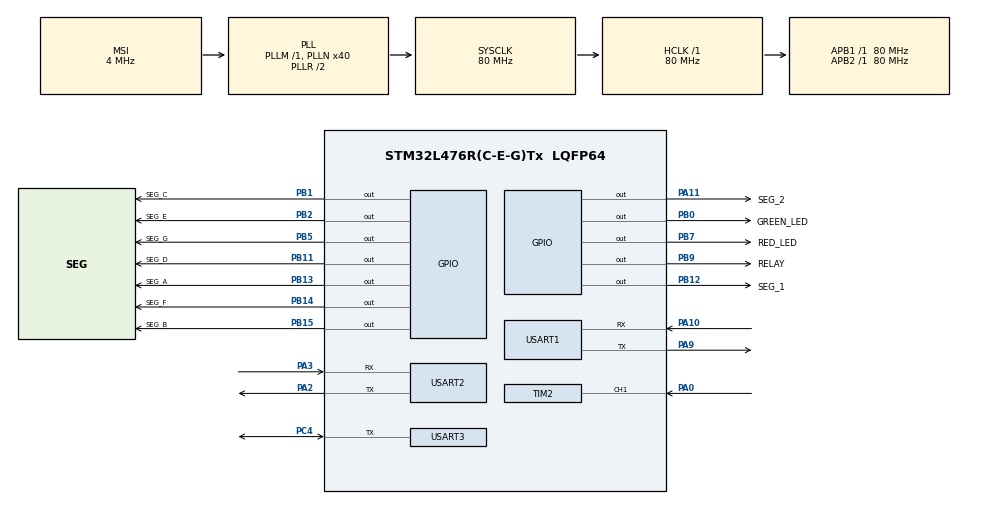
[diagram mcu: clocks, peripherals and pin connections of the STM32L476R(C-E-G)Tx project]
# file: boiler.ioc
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IWDG.Prescaler=IWDG_PRESCALER_32
Mcu.Family=STM32L4
Mcu.Name=STM32L476R(C-E-G)Tx
Mcu.Package=LQFP64
NVIC.PriorityGroup=NVIC_PRIORITYGROUP_4
NVIC.TIM2_IRQn=true\:0\:0\:false\:false\:true\:true\:true\:true
NVIC.TIM7_IRQn=true\:10\:0\:true\:false\:true\:true\:true\:true
PA0.Signal=S_TIM2_CH1
PA10.Mode=Asynchronous
PA10.Signal=USART1_RX
PA11.GPIO_Label=SEG_2
PA11.GPIO_ModeDefaultOutputPP=GPIO_MODE_OUTPUT_OD
PA11.GPIO_PuPd=GPIO_NOPULL
PA11.PinState=GPIO_PIN_SET
PA11.Signal=GPIO_Output
PA13\ (JTMS-SWDIO).Mode=Serial_Wire
PA13\ (JTMS-SWDIO).Signal=SYS_JTMS-SWDIO
PA14\ (JTCK-SWCLK).Mode=Serial_Wire
PA14\ (JTCK-SWCLK).Signal=SYS_JTCK-SWCLK
PA2.Mode=Asynchronous
PA2.Signal=USART2_TX
PA3.Mode=Asynchronous
PA3.Signal=USART2_RX
PA9.Mode=Asynchronous
PA9.Signal=USART1_TX
PB0.GPIO_Label=GREEN_LED
PB0.Signal=GPIO_Output
PB1.GPIO_Label=SEG_C
PB1.Signal=GPIO_Output
PB11.GPIO_Label=SEG_D
PB11.PinState=GPIO_PIN_RESET
PB11.Signal=GPIO_Output
PB12.GPIO_Label=SEG_1
PB12.GPIO_ModeDefaultOutputPP=GPIO_MODE_OUTPUT_OD
PB12.GPIO_PuPd=GPIO_NOPULL
PB12.PinState=GPIO_PIN_SET
PB12.Signal=GPIO_Output
PB13.GPIO_Label=SEG_A
PB13.Signal=GPIO_Output
PB14.GPIO_Label=SEG_F
PB14.Signal=GPIO_Output
PB15.GPIO_Label=SEG_B
PB15.Signal=GPIO_Output
PB2.GPIO_Label=SEG_E
PB2.Signal=GPIO_Output
PB5.GPIO_Label=SEG_G
PB5.Signal=GPIO_Output
PB7.GPIO_Label=RED_LED
PB7.Signal=GPIO_Output
PB9.GPIO_Label=RELAY
PB9.Signal=GPIO_Output
PC4.Mode=Half_duplex(single_wire_mode)
PC4.Signal=USART3_TX
ProjectManager.HeapSize=0x200
ProjectManager.StackSize=0x400
ProjectManager.TargetToolchain=STM32CubeIDE
RCC.AHBFreq_Value=80000000
RCC.APB1Freq_Value=80000000
RCC.APB1TimFreq_Value=80000000
RCC.APB2Freq_Value=80000000
RCC.APB2TimFreq_Value=80000000
RCC.CortexFreq_Value=80000000
RCC.HCLKFreq_Value=80000000
RCC.HSE_VALUE=8000000
RCC.HSI_VALUE=16000000
RCC.LSE_VALUE=32768
RCC.MSI_VALUE=4000000
RCC.PLLN=40
RCC.SYSCLKFreq_VALUE=80000000
RCC.SYSCLKSource=RCC_SYSCLKSOURCE_PLLCLK
RCC.VCOOutputFreq_Value=160000000
SH.S_TIM2_CH1.0=TIM2_CH1,TriggerSource_TI1ED
SH.S_TIM2_CH1.1=TIM2_CH1,Input_Capture1_from_TI1
TIM2.Channel-Input_Capture1_from_TI1=TIM_CHANNEL_1
TIM2.ICPolarity_CH1=TIM_INPUTCHANNELPOLARITY_FALLING
TIM2.Prescaler=79
TIM7.Period=1999
TIM7.Prescaler=99
USART1.VirtualMode-Asynchronous=VM_ASYNC
USART2.VirtualMode-Asynchronous=VM_ASYNC
USART3.BaudRate=9600
USART3.OverrunDisableParam=ADVFEATURE_OVERRUN_DISABLE
USART3.VirtualMode-Half_duplex(single_wire_mode)=VM_ASYNC
VP_IWDG_VS_IWDG.Mode=IWDG_Activate
VP_TIM2_VS_ClockSourceINT.Mode=Internal
VP_TIM2_VS_ControllerModeReset.Mode=Reset Mode
VP_TIM7_VS_ClockSourceINT.Mode=Enable_Timer
board=custom

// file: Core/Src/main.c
/* USER CODE BEGIN Header */
/**
  ******************************************************************************
  * @file           : main.c
  * @brief          : Main program body
  ******************************************************************************
  * @attention
  *
  * Copyright (c) 2025 STMicroelectronics.
  * All rights reserved.
  *
  * This software is licensed under terms that can be found in the LICENSE file
  * in the root directory of this software component.
  * If no LICENSE file comes with this software, it is provided AS-IS.
  *
  ******************************************************************************
  */
/* USER CODE END Header */
#include "main.h"
#include "iwdg.h"
#include "tim.h"
#include "usart.h"
#include "gpio.h"

/* USER CODE BEGIN Includes */
#include "main.h"
#include "tim.h"
#include <stdio.h>
#include <stdbool.h>
#include "usart.h"
#include "gpio.h"
#include "ds18b20.h"
#include "seg7.h"
#include "ir.h"
/* USER CODE END Includes */

/* USER CODE BEGIN PD */
#define TEMP_MIN 30  //minimum allowed temperature
#define TEMP_MAX 70  //maximum allowed temperature(safety)
#define TEMP_HYST 0.5 //hysteresis for on/off control
/* USER CODE END PD */

/* USER CODE BEGIN PV */
int set_temp = 0;
/* USER CODE END PV */

void SystemClock_Config(void);

/* USER CODE BEGIN 0 */

int __io_putchar(int ch)

{

  if (ch == '\n') {

    __io_putchar('\r');

  }

  HAL_UART_Transmit(&huart2, (uint8_t*)&ch, 1, HAL_MAX_DELAY);

  return 1;

}

//timer callback to update 7-seg display

void HAL_TIM_PeriodElapsedCallback(TIM_HandleTypeDef *htim)

{

	if (htim->Instance == TIM7) {
	    seg7_update();
	}

}

/* USER CODE END 0 */

int main(void)
{

  /* MCU Configuration--------------------------------------------------------*/

  /* Reset of all peripherals, Initializes the Flash interface and the Systick. */
  HAL_Init();

  /* Configure the system clock */
  SystemClock_Config();

  /* Initialize all configured peripherals */
  MX_GPIO_Init();
  MX_USART2_UART_Init();
  MX_USART3_UART_Init();
  MX_USART1_UART_Init();
  MX_TIM7_Init();
  MX_TIM2_Init();
  MX_IWDG_Init();
  /* USER CODE BEGIN 2 */

  HAL_TIM_Base_Start(&htim2);
  HAL_TIM_IC_Start_IT(&htim2, TIM_CHANNEL_1);
  bool relay = false;
  bool boiler_off = false;
  uint8_t ds1[DS18B20_ROM_CODE_SIZE];
  char msg[64];

  // Read DS18B20 ROM code
  if (ds18b20_read_address(ds1) != HAL_OK) {

    Error_Handler();

  }

  /* USER CODE END 2 */

  /* Infinite loop */
  /* USER CODE BEGIN WHILE */

  HAL_TIM_Base_Start_IT(&htim7);
  ir_init();
  while (1)
  {
	  int len;

	  // temperature measurement on DS18B20
	  ds18b20_start_measure(NULL);

	  HAL_Delay(750);

	  float temp = ds18b20_get_temp(NULL);

	  // sensor fault detection
	  if (temp >= 80.0f)
	  {
		relay = false;
		HAL_GPIO_WritePin(RELAY_GPIO_Port, RELAY_Pin, GPIO_PIN_SET);
		printf("FAULT-> HEATING OFF\n");
		continue;
	  }

	  // IR remote control
	  int value = ir_read();
	    switch (value) {
	    case IR_CODE_PLUS:
	    	set_temp = set_temp + 1;
	      break;
	    case IR_CODE_MINUS:
	    	set_temp = set_temp - 1;
	      break;
	    case IR_CODE_ONOFF:
	      boiler_off = !boiler_off;

	      break;
	    }

	  // relay control with hysteresis

	  if (set_temp < TEMP_MIN) set_temp = TEMP_MIN;
	  if (set_temp > TEMP_MAX) set_temp = TEMP_MAX;

	  if (boiler_off) {
	      relay = false;
	  }
	  else if (!relay && temp <= (set_temp - TEMP_HYST)) {
	      relay = true;
	  }
	  else if (relay && temp >= (set_temp + TEMP_HYST)) {
	      relay = false;
	  }

	  if (relay) {
	      printf("HEATING ON\n");
	      HAL_GPIO_WritePin(RELAY_GPIO_Port, RELAY_Pin, GPIO_PIN_RESET);
	      HAL_GPIO_WritePin(RED_LED_GPIO_Port, RED_LED_Pin, GPIO_PIN_SET);
	      HAL_GPIO_WritePin(GREEN_LED_GPIO_Port, GREEN_LED_Pin, GPIO_PIN_RESET);

	  } else {
	      printf("HEATING OFF\n");
	      HAL_GPIO_WritePin(RELAY_GPIO_Port, RELAY_Pin, GPIO_PIN_SET);
	      HAL_GPIO_WritePin(RED_LED_GPIO_Port, RED_LED_Pin, GPIO_PIN_RESET);
	      HAL_GPIO_WritePin(GREEN_LED_GPIO_Port, GREEN_LED_Pin, GPIO_PIN_SET);
	  }
	  printf("Temperature = %.1f*C\n", temp);
	  printf("Set temperature = %d\n", set_temp);
	  printf("heating = %d\n", !boiler_off);

      // Send JSON to Raspberry Pi

	  len = snprintf(msg, sizeof(msg),
	      "{\"temperature\":%.1f,\"heating\":%d,\"set_temperature\":%d}\n",
	      temp,
	      relay ? 1 : 0,
	      set_temp
	  );
	      HAL_UART_Transmit(&huart1, (uint8_t*)msg, len, HAL_MAX_DELAY);

	      // watchdog
		  HAL_IWDG_Refresh(&hiwdg);

    /* USER CODE END WHILE */

  }
}

void SystemClock_Config(void)
{
  RCC_OscInitTypeDef RCC_OscInitStruct = {0};
  RCC_ClkInitTypeDef RCC_ClkInitStruct = {0};

  /** Configure the main internal regulator output voltage
  */
  if (HAL_PWREx_ControlVoltageScaling(PWR_REGULATOR_VOLTAGE_SCALE1) != HAL_OK)
  {
    Error_Handler();
  }

  /** Initializes the RCC Oscillators according to the specified parameters
  * in the RCC_OscInitTypeDef structure.
  */
  RCC_OscInitStruct.OscillatorType = RCC_OSCILLATORTYPE_LSI|RCC_OSCILLATORTYPE_MSI;
  RCC_OscInitStruct.LSIState = RCC_LSI_ON;
  RCC_OscInitStruct.MSIState = RCC_MSI_ON;
  RCC_OscInitStruct.MSICalibrationValue = 0;
  RCC_OscInitStruct.MSIClockRange = RCC_MSIRANGE_6;
  RCC_OscInitStruct.PLL.PLLState = RCC_PLL_ON;
  RCC_OscInitStruct.PLL.PLLSource = RCC_PLLSOURCE_MSI;
  RCC_OscInitStruct.PLL.PLLM = 1;
  RCC_OscInitStruct.PLL.PLLN = 40;
  RCC_OscInitStruct.PLL.PLLP = RCC_PLLP_DIV7;
  RCC_OscInitStruct.PLL.PLLQ = RCC_PLLQ_DIV2;
  RCC_OscInitStruct.PLL.PLLR = RCC_PLLR_DIV2;
  if (HAL_RCC_OscConfig(&RCC_OscInitStruct) != HAL_OK)
  {
    Error_Handler();
  }

  /** Initializes the CPU, AHB and APB buses clocks
  */
  RCC_ClkInitStruct.ClockType = RCC_CLOCKTYPE_HCLK|RCC_CLOCKTYPE_SYSCLK
                              |RCC_CLOCKTYPE_PCLK1|RCC_CLOCKTYPE_PCLK2;
  RCC_ClkInitStruct.SYSCLKSource = RCC_SYSCLKSOURCE_PLLCLK;
  RCC_ClkInitStruct.AHBCLKDivider = RCC_SYSCLK_DIV1;
  RCC_ClkInitStruct.APB1CLKDivider = RCC_HCLK_DIV1;
  RCC_ClkInitStruct.APB2CLKDivider = RCC_HCLK_DIV1;

  if (HAL_RCC_ClockConfig(&RCC_ClkInitStruct, FLASH_LATENCY_4) != HAL_OK)
  {
    Error_Handler();
  }
}

/* USER CODE BEGIN 4 */
void HAL_TIM_IC_CaptureCallback(TIM_HandleTypeDef *htim)

{

  if (htim == &htim2)

  {

    switch (HAL_TIM_GetActiveChannel(&htim2))

    {

      case HAL_TIM_ACTIVE_CHANNEL_1:

        ir_tim_interrupt();

        break;

      default:

        break;

    }

  }

}

/* USER CODE END 4 */

void Error_Handler(void)
{
  __disable_irq();
  while (1)
  {
  }
}
